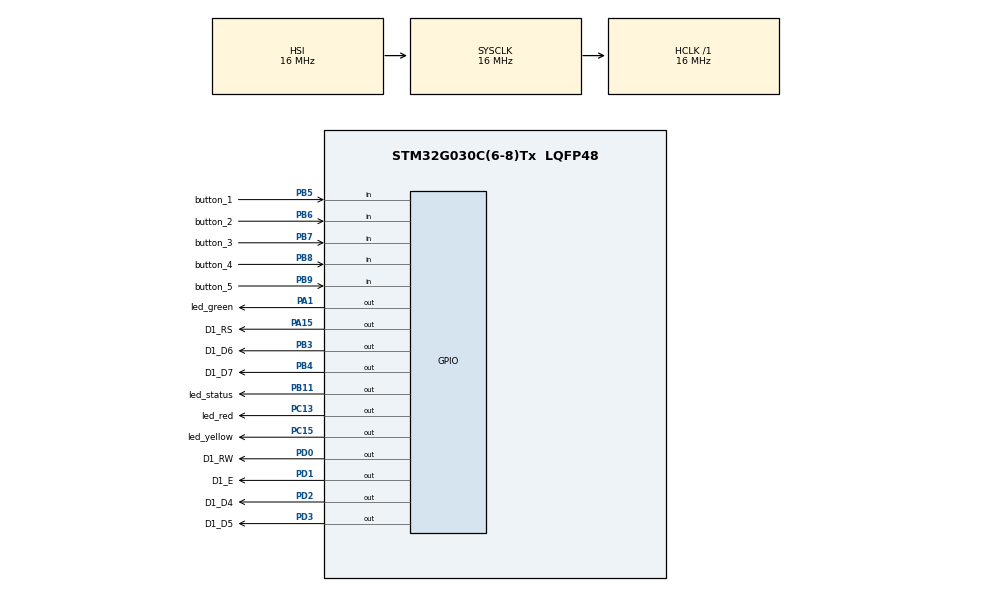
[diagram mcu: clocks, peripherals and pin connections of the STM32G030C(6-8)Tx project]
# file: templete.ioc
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Mcu.Family=STM32G0
Mcu.Name=STM32G030C(6-8)Tx
Mcu.Package=LQFP48
PA1.GPIO_Label=led_green
PA1.Signal=GPIO_Output
PA13.Mode=Serial_Wire
PA13.Signal=SYS_SWDIO
PA14-BOOT0.Mode=Serial_Wire
PA14-BOOT0.Signal=SYS_SWCLK
PA15.GPIO_Label=D1_RS
PA15.Signal=GPIO_Output
PB11.GPIO_Label=led_status
PB11.Signal=GPIO_Output
PB3.GPIO_Label=D1_D6
PB3.Signal=GPIO_Output
PB4.GPIO_Label=D1_D7
PB4.Signal=GPIO_Output
PB5.GPIO_Label=button_1
PB5.GPIO_PuPd=GPIO_PULLUP
PB5.Signal=GPIO_Input
PB6.GPIO_Label=button_2
PB6.GPIO_PuPd=GPIO_PULLUP
PB6.Signal=GPIO_Input
PB7.GPIO_Label=button_3
PB7.GPIO_PuPd=GPIO_PULLUP
PB7.Signal=GPIO_Input
PB8.GPIO_Label=button_4
PB8.GPIO_PuPd=GPIO_PULLUP
PB8.Signal=GPIO_Input
PB9.GPIO_Label=button_5
PB9.GPIO_PuPd=GPIO_PULLUP
PB9.Signal=GPIO_Input
PC13.GPIO_Label=led_red
PC13.Signal=GPIO_Output
PC15-OSC32_OUT\ (PC15).GPIO_Label=led_yellow
PC15-OSC32_OUT\ (PC15).Signal=GPIO_Output
PD0.GPIO_Label=D1_RW
PD0.Signal=GPIO_Output
PD1.GPIO_Label=D1_E
PD1.Signal=GPIO_Output
PD2.GPIO_Label=D1_D4
PD2.Signal=GPIO_Output
PD3.GPIO_Label=D1_D5
PD3.Signal=GPIO_Output
ProjectManager.HeapSize=0x200
ProjectManager.StackSize=0x400
ProjectManager.TargetToolchain=STM32CubeIDE
RCC.AHBFreq_Value=16000000
RCC.CortexFreq_Value=16000000
RCC.EXTERNAL_CLOCK_VALUE=12288000
RCC.HCLKFreq_Value=16000000
RCC.HSE_VALUE=8000000
RCC.HSI_VALUE=16000000
RCC.LSE_VALUE=32768
RCC.SYSCLKFreq_VALUE=16000000
RCC.VCOOutputFreq_Value=128000000
board=custom

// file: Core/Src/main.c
/* USER CODE BEGIN Header */
/**
  ******************************************************************************
  * @file           : main.c
  * @brief          : Main program body
  ******************************************************************************
  * @attention
  *
  * Copyright (c) 2023 STMicroelectronics.
  * All rights reserved.
  *
  * This software is licensed under terms that can be found in the LICENSE file
  * in the root directory of this software component.
  * If no LICENSE file comes with this software, it is provided AS-IS.
  *
  ******************************************************************************
  */
/* USER CODE END Header */
#include "main.h"

/* USER CODE BEGIN Includes */
#include "lcd.h"
#include "led.h"
/* USER CODE END Includes */

void SystemClock_Config(void);
static void MX_GPIO_Init(void);

int main(void)
{

  /* MCU Configuration--------------------------------------------------------*/

  /* Reset of all peripherals, Initializes the Flash interface and the Systick. */
  HAL_Init();

  /* Configure the system clock */
  SystemClock_Config();

  /* Initialize all configured peripherals */
  MX_GPIO_Init();
  /* USER CODE BEGIN 2 */
  led_all_on();

  //create the lcd object for 4 bits  and 16x2 mode
  lcd_t lcd_1= lcd_create_4_bit(D1_RS_GPIO_Port, D1_RW_GPIO_Port, D1_E_GPIO_Port,
  								D1_RS_Pin, D1_RW_Pin, D1_E_Pin,
  								D1_D7_GPIO_Port, D1_D6_GPIO_Port, D1_D5_GPIO_Port, D1_D4_GPIO_Port,
  								D1_D7_Pin,D1_D6_Pin, D1_D5_Pin,D1_D4_Pin,lcd_chr_16x2_mode);
  lcd_clear(&lcd_1);//clear display
  lcd_set_cursor(&lcd_1, 0, 0);
  lcd_print_string(&lcd_1, "TEST 1");
  lcd_set_cursor(&lcd_1, 1, 0);
  lcd_print_string(&lcd_1, "4 bit mode 16x2");
  uint8_t counter=0;//var to show counter in lcd
  char buffer [16];
  HAL_Delay(1500);
  lcd_clear(&lcd_1);//clear lcd
  /* USER CODE END 2 */

  /* Infinite loop */
  while (1)
  {

    /* USER CODE BEGIN 3 */

	  sprintf(buffer,"%3d",button_read());
	  lcd_set_cursor(&lcd_1, 0, 0);
	  lcd_print_string(&lcd_1, "Counter:");
	  lcd_set_cursor(&lcd_1, 0, 9);
	  lcd_print_string(&lcd_1,buffer );
	 //counter++;
	 //HAL_Delay(1000);

  }
  /* USER CODE END 3 */
}

void SystemClock_Config(void)
{
  RCC_OscInitTypeDef RCC_OscInitStruct = {0};
  RCC_ClkInitTypeDef RCC_ClkInitStruct = {0};

  /** Configure the main internal regulator output voltage
  */
  HAL_PWREx_ControlVoltageScaling(PWR_REGULATOR_VOLTAGE_SCALE1);

  /** Initializes the RCC Oscillators according to the specified parameters
  * in the RCC_OscInitTypeDef structure.
  */
  RCC_OscInitStruct.OscillatorType = RCC_OSCILLATORTYPE_HSI;
  RCC_OscInitStruct.HSIState = RCC_HSI_ON;
  RCC_OscInitStruct.HSIDiv = RCC_HSI_DIV1;
  RCC_OscInitStruct.HSICalibrationValue = RCC_HSICALIBRATION_DEFAULT;
  RCC_OscInitStruct.PLL.PLLState = RCC_PLL_NONE;
  if (HAL_RCC_OscConfig(&RCC_OscInitStruct) != HAL_OK)
  {
    Error_Handler();
  }

  /** Initializes the CPU, AHB and APB buses clocks
  */
  RCC_ClkInitStruct.ClockType = RCC_CLOCKTYPE_HCLK|RCC_CLOCKTYPE_SYSCLK
                              |RCC_CLOCKTYPE_PCLK1;
  RCC_ClkInitStruct.SYSCLKSource = RCC_SYSCLKSOURCE_HSI;
  RCC_ClkInitStruct.AHBCLKDivider = RCC_SYSCLK_DIV1;
  RCC_ClkInitStruct.APB1CLKDivider = RCC_HCLK_DIV1;

  if (HAL_RCC_ClockConfig(&RCC_ClkInitStruct, FLASH_LATENCY_0) != HAL_OK)
  {
    Error_Handler();
  }
}

static void MX_GPIO_Init(void)
{
  GPIO_InitTypeDef GPIO_InitStruct = {0};

  /* GPIO Ports Clock Enable */
  __HAL_RCC_GPIOC_CLK_ENABLE();
  __HAL_RCC_GPIOA_CLK_ENABLE();
  __HAL_RCC_GPIOB_CLK_ENABLE();
  __HAL_RCC_GPIOD_CLK_ENABLE();

  /*Configure GPIO pin Output Level */
  HAL_GPIO_WritePin(GPIOC, led_red_Pin|led_yellow_Pin, GPIO_PIN_RESET);

  /*Configure GPIO pin Output Level */
  HAL_GPIO_WritePin(GPIOA, led_green_Pin|D1_RS_Pin, GPIO_PIN_RESET);

  /*Configure GPIO pin Output Level */
  HAL_GPIO_WritePin(GPIOB, led_status_Pin|D1_D6_Pin|D1_D7_Pin, GPIO_PIN_RESET);

  /*Configure GPIO pin Output Level */
  HAL_GPIO_WritePin(GPIOD, D1_RW_Pin|D1_E_Pin|D1_D4_Pin|D1_D5_Pin, GPIO_PIN_RESET);

  /*Configure GPIO pins : led_red_Pin led_yellow_Pin */
  GPIO_InitStruct.Pin = led_red_Pin|led_yellow_Pin;
  GPIO_InitStruct.Mode = GPIO_MODE_OUTPUT_PP;
  GPIO_InitStruct.Pull = GPIO_NOPULL;
  GPIO_InitStruct.Speed = GPIO_SPEED_FREQ_LOW;
  HAL_GPIO_Init(GPIOC, &GPIO_InitStruct);

  /*Configure GPIO pins : led_green_Pin D1_RS_Pin */
  GPIO_InitStruct.Pin = led_green_Pin|D1_RS_Pin;
  GPIO_InitStruct.Mode = GPIO_MODE_OUTPUT_PP;
  GPIO_InitStruct.Pull = GPIO_NOPULL;
  GPIO_InitStruct.Speed = GPIO_SPEED_FREQ_LOW;
  HAL_GPIO_Init(GPIOA, &GPIO_InitStruct);

  /*Configure GPIO pins : led_status_Pin D1_D6_Pin D1_D7_Pin */
  GPIO_InitStruct.Pin = led_status_Pin|D1_D6_Pin|D1_D7_Pin;
  GPIO_InitStruct.Mode = GPIO_MODE_OUTPUT_PP;
  GPIO_InitStruct.Pull = GPIO_NOPULL;
  GPIO_InitStruct.Speed = GPIO_SPEED_FREQ_LOW;
  HAL_GPIO_Init(GPIOB, &GPIO_InitStruct);

  /*Configure GPIO pins : D1_RW_Pin D1_E_Pin D1_D4_Pin D1_D5_Pin */
  GPIO_InitStruct.Pin = D1_RW_Pin|D1_E_Pin|D1_D4_Pin|D1_D5_Pin;
  GPIO_InitStruct.Mode = GPIO_MODE_OUTPUT_PP;
  GPIO_InitStruct.Pull = GPIO_NOPULL;
  GPIO_InitStruct.Speed = GPIO_SPEED_FREQ_LOW;
  HAL_GPIO_Init(GPIOD, &GPIO_InitStruct);

  /*Configure GPIO pins : button_1_Pin button_2_Pin button_3_Pin button_4_Pin
                           button_5_Pin */
  GPIO_InitStruct.Pin = button_1_Pin|button_2_Pin|button_3_Pin|button_4_Pin
                          |button_5_Pin;
  GPIO_InitStruct.Mode = GPIO_MODE_INPUT;
  GPIO_InitStruct.Pull = GPIO_PULLUP;
  HAL_GPIO_Init(GPIOB, &GPIO_InitStruct);

}

void Error_Handler(void)
{
  __disable_irq();
  while (1)
  {
  }
}
